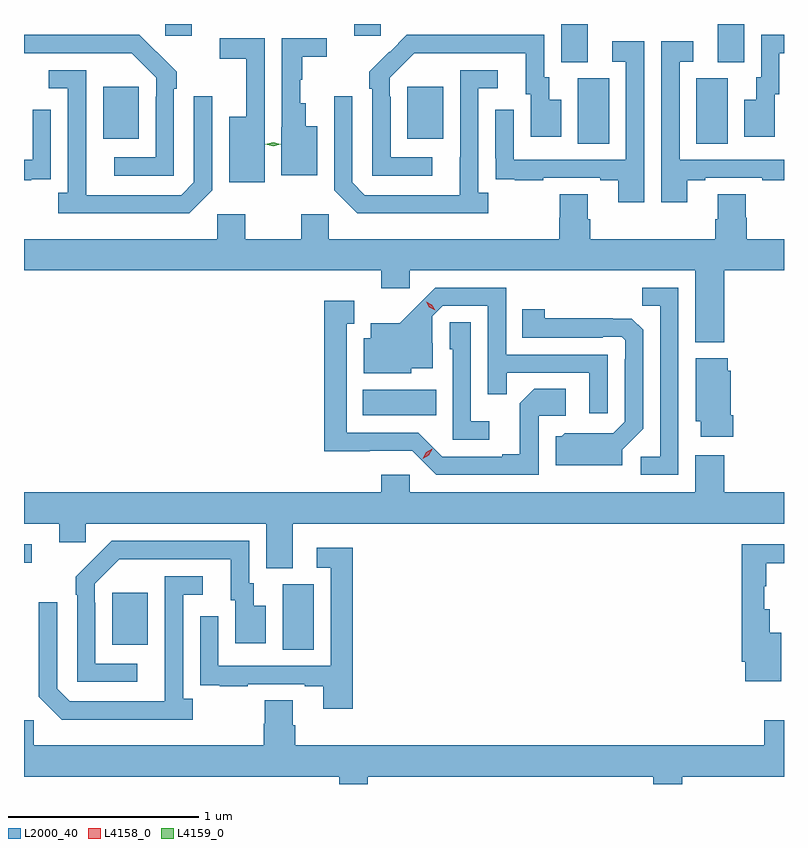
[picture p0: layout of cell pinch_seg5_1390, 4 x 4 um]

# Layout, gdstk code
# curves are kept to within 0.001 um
import gdstk
lib = gdstk.Library(unit=1e-6, precision=1e-09)
def R(c, l, rs):  # rectangles x0, y0, x1, y1
    for r in rs: c.add(gdstk.rectangle(r[:2], r[2:], *l))
def P(c, l, *ps):  # polygons
    for p in ps: c.add(gdstk.Polygon(p, *l))
L2000_40 = (2000, 40)
L4158_0 = (4158, 0)
L4159_0 = (4159, 0)

pinch_seg5_1390 = lib.new_cell('pinch_seg5_1390')
R(pinch_seg5_1390, L2000_40, [(136.058,906.712,136.222,907.056), (135.161,906.737,135.349,907.012), (134.697,907.17,134.737,907.266), (136.481,907.946,136.868,908.08), (137.612,909.376,137.776,909.72), (138.236,909.376,138.4,909.72), (135.113,909.401,135.301,909.676), (136.715,909.401,136.903,909.676), (137.525,909.805,137.665,910.005), (138.347,909.805,138.487,910.005), (135.441,909.942,135.58,910.005), (136.436,909.942,136.575,910.005)])
P(pinch_seg5_1390, L2000_40, [(135.486,909.665),(135.501,909.665),(135.501,909.753),(135.304,909.948),(134.697,909.948),(134.697,909.852),(135.265,909.852),(135.393,909.723),(135.393,909.623),(135.39,909.623),(135.39,909.303),(135.171,909.303),(135.171,909.207),(135.486,909.207)],
  [(138.649,909.636),(138.673,909.636),(138.673,909.852),(138.697,909.852),(138.697,909.948),(138.576,909.948),(138.576,909.726),(138.551,909.726),(138.551,909.607),(138.488,909.607),(138.488,909.411),(138.649,909.411)],
  [(136.846,909.303),(136.626,909.303),(136.626,909.623),(136.623,909.623),(136.623,909.723),(136.752,909.852),(137.339,909.852),(137.339,909.636),(137.363,909.636),(137.363,909.411),(137.524,909.411),(137.524,909.607),(137.461,909.607),(137.461,909.726),(137.436,909.726),(137.436,909.948),(136.712,909.948),(136.515,909.753),(136.515,909.665),(136.53,909.665),(136.53,909.207),(136.846,909.207)],
  [(135.964,909.413),(135.963,909.413),(135.963,909.93),(135.726,909.93),(135.726,909.822),(135.866,909.822),(135.866,909.517),(135.776,909.517),(135.776,909.173),(135.964,909.173)],
  [(136.24,909.466),(136.18,909.466),(136.18,909.589),(136.151,909.589),(136.151,909.711),(136.162,909.711),(136.162,909.832),(136.291,909.832),(136.291,909.93),(136.053,909.93),(136.053,909.462),(136.052,909.462),(136.052,909.209),(136.24,909.209)],
  [(138.187,909.183),(138.283,909.183),(138.283,909.195),(138.583,909.195),(138.583,909.183),(138.697,909.183),(138.697,909.291),(138.147,909.291),(138.147,909.807),(138.22,909.807),(138.22,909.913),(138.051,909.913),(138.051,909.066),(138.187,909.066)],
  [(137.961,909.913),(137.793,909.913),(137.793,909.807),(137.865,909.807),(137.865,909.291),(137.274,909.291),(137.274,909.553),(137.178,909.553),(137.178,909.298),(137.179,909.298),(137.179,909.189),(137.281,909.189),(137.281,909.183),(137.429,909.183),(137.429,909.195),(137.729,909.195),(137.729,909.183),(137.825,909.183),(137.825,909.066),(137.961,909.066)],
  [(135.687,909.129),(135.687,909.625),(135.591,909.625),(135.591,909.171),(135.525,909.105),(135.025,909.105),(135.024,909.762),(134.826,909.762),(134.826,909.666),(134.928,909.666),(134.928,909.118),(134.877,909.118),(134.877,909.008),(135.566,909.008)],
  [(137.14,909.118),(137.088,909.118),(137.088,909.666),(137.191,909.666),(137.191,909.762),(136.992,909.762),(136.991,909.105),(136.491,909.105),(136.425,909.171),(136.425,909.625),(136.329,909.625),(136.329,909.129),(136.45,909.008),(137.14,909.008)],
  [(134.735,909.189),(134.837,909.189),(134.837,909.298),(134.838,909.298),(134.838,909.553),(134.742,909.553),(134.742,909.291),(134.697,909.291),(134.697,909.183),(134.735,909.183)],
  [(138.23,908.33),(138.383,908.33),(138.383,908.708),(138.697,908.708),(138.697,908.872),(138.5,908.872),(138.5,908.985),(138.495,908.985),(138.495,909.11),(138.347,909.11),(138.347,908.978),(138.335,908.978),(138.335,908.872),(137.678,908.872),(137.678,908.978),(137.665,908.978),(137.665,909.11),(137.518,909.11),(137.518,908.985),(137.513,908.985),(137.513,908.872),(136.302,908.872),(136.302,909.004),(136.156,909.004),(136.156,908.872),(135.861,908.872),(135.861,909.004),(135.714,909.004),(135.714,908.872),(134.697,908.872),(134.697,908.708),(136.577,908.708),(136.577,908.613),(136.728,908.613),(136.728,908.708),(138.23,908.708)],
  [(138.141,908.616),(137.95,908.616),(137.95,908.521),(138.045,908.521),(138.045,907.728),(137.943,907.728),(137.943,907.632),(138.141,907.632)],
  [(137.769,908.265),(137.235,908.265),(137.235,908.616),(136.862,908.616),(136.675,908.431),(136.523,908.431),(136.523,908.35),(136.484,908.35),(136.484,908.168),(136.734,908.168),(136.734,908.192),(136.849,908.192),(136.849,908.324),(136.845,908.324),(136.845,908.466),(136.902,908.523),(137.139,908.523),(137.139,908.056),(137.237,908.056),(137.237,908.169),(137.673,908.169),(137.673,907.956),(137.769,907.956)],
  [(137.406,907.944),(137.548,907.944),(137.548,908.084),(137.383,908.084),(137.307,908.008),(137.307,907.741),(137.213,907.741),(137.213,907.728),(136.899,907.728),(136.773,907.854),(136.396,907.854),(136.396,908.427),(136.435,908.427),(136.435,908.548),(136.278,908.548),(136.278,907.757),(136.74,907.758),(136.866,907.632),(137.406,907.632)],
  [(137.845,907.764),(137.955,907.874),(137.955,908.396),(137.896,908.455),(137.439,908.456),(137.439,908.503),(137.32,908.503),(137.32,908.355),(137.744,908.355),(137.744,908.358),(137.844,908.358),(137.862,908.34),(137.862,908.24),(137.859,908.24),(137.859,907.911),(137.799,907.851),(137.542,907.852),(137.526,907.836),(137.495,907.836),(137.495,907.682),(137.845,907.682)],
  [(137.146,907.915),(137.049,907.915),(137.049,908.435),(136.938,908.435),(136.938,908.292),(136.953,908.292),(136.953,907.818),(137.146,907.818)],
  [(138.431,907.945),(138.418,907.945),(138.418,908.181),(138.4,908.181),(138.4,908.245),(138.233,908.245),(138.233,907.914),(138.26,907.914),(138.26,907.833),(138.431,907.833)],
  [(136.111,907.376),(138.697,907.376),(138.697,907.54),(138.383,907.54),(138.383,907.735),(138.23,907.735),(138.23,907.54),(136.728,907.54),(136.728,907.633),(136.577,907.633),(136.577,907.54),(134.697,907.54),(134.697,907.376),(134.882,907.376),(134.882,907.278),(135.021,907.278),(135.021,907.376),(135.971,907.376),(135.971,907.141),(136.111,907.141)],
  [(135.292,906.639),(135.072,906.639),(135.072,906.959),(135.069,906.959),(135.069,907.059),(135.198,907.188),(135.785,907.188),(135.785,906.972),(135.809,906.972),(135.809,906.747),(135.97,906.747),(135.97,906.943),(135.907,906.943),(135.907,907.062),(135.882,907.062),(135.882,907.284),(135.158,907.284),(135.067,907.193),(135.066,907.194),(134.969,907.096),(134.969,907.001),(134.976,907.001),(134.976,906.543),(135.292,906.543)],
  [(138.682,906.802),(138.622,906.802),(138.622,906.925),(138.593,906.925),(138.593,907.047),(138.604,907.047),(138.604,907.168),(138.697,907.168),(138.697,907.266),(138.475,907.266),(138.475,906.649),(138.494,906.649),(138.494,906.545),(138.682,906.545)],
  [(136.427,907.249),(136.239,907.249),(136.239,907.143),(136.311,907.143),(136.311,906.627),(135.72,906.627),(135.72,906.889),(135.624,906.889),(135.624,906.634),(135.625,906.634),(135.625,906.525),(135.727,906.525),(135.727,906.519),(135.875,906.519),(135.875,906.531),(136.175,906.531),(136.175,906.519),(136.271,906.519),(136.271,906.402),(136.427,906.402)],
  [(135.586,906.454),(135.534,906.454),(135.534,907.002),(135.637,907.002),(135.637,907.098),(135.438,907.098),(135.437,906.441),(134.937,906.441),(134.871,906.507),(134.871,906.961),(134.775,906.961),(134.775,906.465),(134.896,906.344),(135.586,906.344)],
  [(135.964,906.446),(135.964,906.321),(135.959,906.321),(135.959,906.208),(134.748,906.208),(134.748,906.34),(134.697,906.34),(134.697,906.044),(136.355,906.044),(136.355,906.005),(136.506,906.005),(136.506,906.044),(138.008,906.044),(138.008,906.005),(138.161,906.005),(138.161,906.044),(138.697,906.044),(138.697,906.34),(138.593,906.34),(138.593,906.208),(136.124,906.208),(136.124,906.314),(136.111,906.314),(136.111,906.446)])
P(pinch_seg5_1390, L4158_0, [(136.861,908.498),(136.83,908.514),(136.813,908.544),(136.813,908.544),(136.813,908.544),(136.844,908.528),(136.861,908.498),(136.861,908.498)],
  [(136.795,907.717),(136.795,907.718),(136.813,907.75),(136.845,907.769),(136.845,907.769),(136.845,907.768),(136.827,907.736),(136.795,907.717)])
P(pinch_seg5_1390, L4159_0, [(136.008,909.362),(135.968,909.371),(135.968,909.371),(135.968,909.372),(136.008,909.382),(136.048,909.372),(136.048,909.372),(136.048,909.372)])

lib.write_gds('pinch_seg5_1390.gds')
